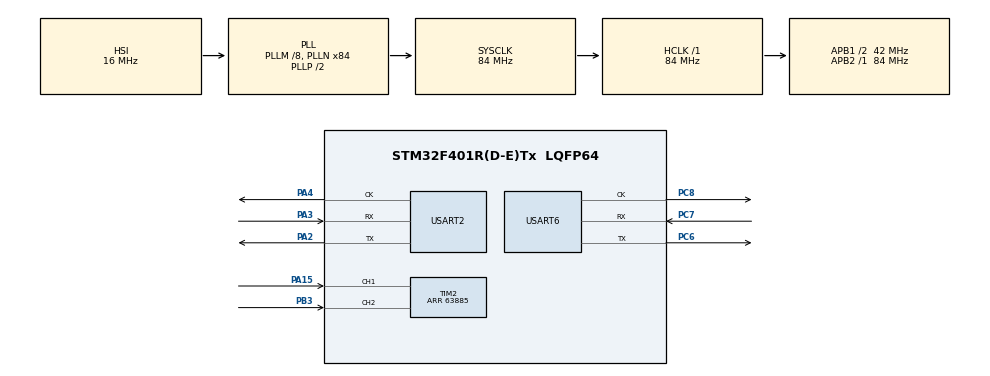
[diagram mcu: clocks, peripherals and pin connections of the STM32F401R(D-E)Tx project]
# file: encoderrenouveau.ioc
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Mcu.Family=STM32F4
Mcu.Name=STM32F401R(D-E)Tx
Mcu.Package=LQFP64
NVIC.PriorityGroup=NVIC_PRIORITYGROUP_4
PA15.GPIO_PuPd=GPIO_PULLUP
PA15.Signal=S_TIM2_CH1_ETR
PA2.Mode=Synchronous
PA2.Signal=USART2_TX
PA3.Mode=Synchronous
PA3.Signal=USART2_RX
PA4.Mode=Synchronous
PA4.Signal=USART2_CK
PB3.GPIO_PuPd=GPIO_PULLUP
PB3.Signal=S_TIM2_CH2
PC6.Mode=Synchronous
PC6.Signal=USART6_TX
PC7.Mode=Synchronous
PC7.Signal=USART6_RX
PC8.Mode=Synchronous
PC8.Signal=USART6_CK
ProjectManager.HeapSize=0x200
ProjectManager.StackSize=0x400
ProjectManager.TargetToolchain=Makefile
RCC.48MHZClocksFreq_Value=42000000
RCC.AHBFreq_Value=84000000
RCC.APB1CLKDivider=RCC_HCLK_DIV2
RCC.APB1Freq_Value=42000000
RCC.APB1TimFreq_Value=84000000
RCC.APB2Freq_Value=84000000
RCC.APB2TimFreq_Value=84000000
RCC.CortexFreq_Value=84000000
RCC.HCLKFreq_Value=84000000
RCC.HSE_VALUE=25000000
RCC.HSI_VALUE=16000000
RCC.LSE_VALUE=32768
RCC.PLLM=8
RCC.PLLN=84
RCC.SYSCLKFreq_VALUE=84000000
RCC.SYSCLKSource=RCC_SYSCLKSOURCE_PLLCLK
RCC.VCOOutputFreq_Value=168000000
SH.S_TIM2_CH1_ETR.0=TIM2_CH1,Encoder_Interface
SH.S_TIM2_CH2.0=TIM2_CH2,Encoder_Interface
TIM2.EncoderMode=TIM_ENCODERMODE_TI12
TIM2.Period=63885
USART2.VirtualMode=VM_SYNC
USART6.VirtualMode=VM_SYNC
board=custom

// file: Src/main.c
/* USER CODE BEGIN Header */
/**
  ******************************************************************************
  * @file           : main.c
  * @brief          : Main program body
  ******************************************************************************
  ** This notice applies to any and all portions of this file
  * that are not between comment pairs USER CODE BEGIN and
  * USER CODE END. Other portions of this file, whether
  * inserted by the user or by software development tools
  * are owned by their respective copyright owners.
  *
  * COPYRIGHT(c) 2019 STMicroelectronics
  *
  * Redistribution and use in source and binary forms, with or without modification,
  * are permitted provided that the following conditions are met:
  *   1. Redistributions of source code must retain the above copyright notice,
  *      this list of conditions and the following disclaimer.
  *   2. Redistributions in binary form must reproduce the above copyright notice,
  *      this list of conditions and the following disclaimer in the documentation
  *      and/or other materials provided with the distribution.
  *   3. Neither the name of STMicroelectronics nor the names of its contributors
  *      may be used to endorse or promote products derived from this software
  *      without specific prior written permission.
  *
  * THIS SOFTWARE IS PROVIDED BY THE COPYRIGHT HOLDERS AND CONTRIBUTORS "AS IS"
  * AND ANY EXPRESS OR IMPLIED WARRANTIES, INCLUDING, BUT NOT LIMITED TO, THE
  * IMPLIED WARRANTIES OF MERCHANTABILITY AND FITNESS FOR A PARTICULAR PURPOSE ARE
  * DISCLAIMED. IN NO EVENT SHALL THE COPYRIGHT HOLDER OR CONTRIBUTORS BE LIABLE
  * FOR ANY DIRECT, INDIRECT, INCIDENTAL, SPECIAL, EXEMPLARY, OR CONSEQUENTIAL
  * DAMAGES (INCLUDING, BUT NOT LIMITED TO, PROCUREMENT OF SUBSTITUTE GOODS OR
  * SERVICES; LOSS OF USE, DATA, OR PROFITS; OR BUSINESS INTERRUPTION) HOWEVER
  * CAUSED AND ON ANY THEORY OF LIABILITY, WHETHER IN CONTRACT, STRICT LIABILITY,
  * OR TORT (INCLUDING NEGLIGENCE OR OTHERWISE) ARISING IN ANY WAY OUT OF THE USE
  * OF THIS SOFTWARE, EVEN IF ADVISED OF THE POSSIBILITY OF SUCH DAMAGE.
  *
  ******************************************************************************
  */
/* USER CODE END Header */

#include "main.h"
#include "tim.h"
#include "usart.h"
#include "gpio.h"

/* USER CODE BEGIN PV */
int nLoop=0;
/* USER CODE END PV */

void SystemClock_Config(void);

int main(void)
{

  /* MCU Configuration--------------------------------------------------------*/

  /* Reset of all peripherals, Initializes the Flash interface and the Systick. */
  HAL_Init();

  /* Configure the system clock */
  SystemClock_Config();

  /* Initialize all configured peripherals */
  MX_GPIO_Init();
  MX_TIM2_Init();
  MX_USART6_Init();
  MX_USART2_Init();
  /* USER CODE BEGIN 2 */
  HAL_TIM_Base_Start_IT(&htim2);

  long int EncVal;
/*  int i=0;
  typedef struct Encoder_S{
  volatile int last;
  volatile int current;
  volatile int dl;
  volatile int cnt;

}Encoder;
Encoder encoder;

  void HAL_TIM_IC_CaptureCallback (Encoder encoder)
{
  if(htim2.Instance == htim2.Instance)
  {
    //HAL_GPIO_TogglePin(LD2_GPIO_Port, LD2_Pin);

    encoder.last = encoder.current;
    encoder.current = htim2.Instance->CNT;

    int dl = encoder.current - encoder.last;

     * current = last+1 : +1
     * current = last : 0
     * current = last-1 : -1
     * current = 0, last = ARR : +1
     * current = ARR, last = 0 : -1

    if(dl > 1){
      dl = -1;
    }else if(dl < -1){
      dl = +1;
    }
    encoder.dl = dl;
    encoder.cnt += dl;
  }
}*/
  /* USER CODE END 2 */

  /* Infinite loop */
  /* USER CODE BEGIN WHILE */
  while (1)
  {

    EncVal=5;
   // EncVal =__HAL_TIM_GET_COUNTER(&htim2);
    //HAL_TIM_IC_CaptureCallback(encoder);
    printf("%ld %ld \n",EncVal,(&htim2)->Instance->CNT);
    /*//__HAL_TIM_SET_COUNTER(htim2->Instance->CNT);
    printf("Encoder -> %d ou %d,essai %d,%ld \n\r",encoder.cnt , encoder.dl,i,TIM2->CNT);
    printf("%ld\n",__HAL_TIM_GET_COUNTER(htim2) ((htim2).Instance->CNT));
    *///HAL_GPIO_WritePin(encodeur1_2_GPIO_Port,encodeur1_2_Pin,EncVal);
    /* USER CODE END WHILE */

    /* USER CODE BEGIN 3 */
   // HAL_Delay(500);

  }
  /* USER CODE END 3 */
}

void SystemClock_Config(void)
{
  RCC_OscInitTypeDef RCC_OscInitStruct = {0};
  RCC_ClkInitTypeDef RCC_ClkInitStruct = {0};

  /**Configure the main internal regulator output voltage
  */
  __HAL_RCC_PWR_CLK_ENABLE();
  __HAL_PWR_VOLTAGESCALING_CONFIG(PWR_REGULATOR_VOLTAGE_SCALE2);
  /**Initializes the CPU, AHB and APB busses clocks
  */
  RCC_OscInitStruct.OscillatorType = RCC_OSCILLATORTYPE_HSI;
  RCC_OscInitStruct.HSIState = RCC_HSI_ON;
  RCC_OscInitStruct.HSICalibrationValue = RCC_HSICALIBRATION_DEFAULT;
  RCC_OscInitStruct.PLL.PLLState = RCC_PLL_ON;
  RCC_OscInitStruct.PLL.PLLSource = RCC_PLLSOURCE_HSI;
  RCC_OscInitStruct.PLL.PLLM = 8;
  RCC_OscInitStruct.PLL.PLLN = 84;
  RCC_OscInitStruct.PLL.PLLP = RCC_PLLP_DIV2;
  RCC_OscInitStruct.PLL.PLLQ = 4;
  if (HAL_RCC_OscConfig(&RCC_OscInitStruct) != HAL_OK)
  {
    Error_Handler();
  }
  /**Initializes the CPU, AHB and APB busses clocks
  */
  RCC_ClkInitStruct.ClockType = RCC_CLOCKTYPE_HCLK|RCC_CLOCKTYPE_SYSCLK
                              |RCC_CLOCKTYPE_PCLK1|RCC_CLOCKTYPE_PCLK2;
  RCC_ClkInitStruct.SYSCLKSource = RCC_SYSCLKSOURCE_PLLCLK;
  RCC_ClkInitStruct.AHBCLKDivider = RCC_SYSCLK_DIV1;
  RCC_ClkInitStruct.APB1CLKDivider = RCC_HCLK_DIV2;
  RCC_ClkInitStruct.APB2CLKDivider = RCC_HCLK_DIV1;

  if (HAL_RCC_ClockConfig(&RCC_ClkInitStruct, FLASH_LATENCY_2) != HAL_OK)
  {
    Error_Handler();
  }
}

/* USER CODE BEGIN 4 */
int __io_putchar(int ch)
{
 uint8_t c[1];
 c[0] = ch & 0x00FF;
 HAL_USART_Transmit(&husart2, &*c, 1, 10);
 return ch;
}

int _write(int file,char *ptr, int len)
{
 int DataIdx;
 for(DataIdx= 0; DataIdx< len; DataIdx++)
 {
 __io_putchar(*ptr++);
 }
return len;
}
/* USER CODE END 4 */

void Error_Handler(void)
{
}

/************************ (C) COPYRIGHT STMicroelectronics *****END OF FILE****/
